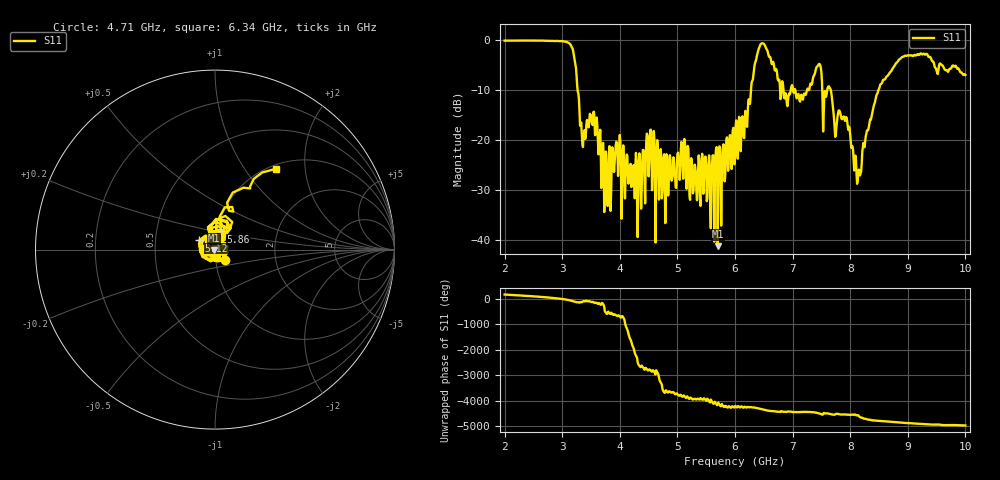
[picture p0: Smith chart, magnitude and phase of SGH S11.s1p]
!Keysight Technologies,N5227A,US51270384,A.10.49.03
!Date: Tuesday, March 27, 2018 13:03:27
!Correction: S11(Full 1 Port(1))
!S1P File: Measurement: S11:
# Hz S  RI  R 50
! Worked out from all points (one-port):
!   801 points, 2 GHz to 10 GHz, reference 50 ohm
!   lowest |S11| = -41.3 dB at 5.7 GHz (marker M1), VSWR 1.02, Z = 49.2 - j0.337 ohm
!   |S11| at or under -10 dB: 3.268 GHz to 6.278 GHz (3.01 GHz wide, 63.1 % of centre); 7.046 GHz to 7.251 GHz (204.8 MHz wide, 2.86 % of centre); 7.663 GHz to 8.49 GHz (827.2 MHz wide, 10.2 % of centre)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
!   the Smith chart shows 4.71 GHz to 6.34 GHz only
!   S11 on the Smith chart (normalised r, x): 4.71 GHz: 1.11, -0.13; 5.12 GHz: 0.83, +0.09; 5.86 GHz: 1.05, +0.21; 6.34 GHz: 1.07, +1.41
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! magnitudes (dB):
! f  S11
! 2 GHz  -0.1
! 3 GHz  -0.2
! 3.2 GHz  -2.8
! 3.36 GHz  -21.4
! 3.57 GHz  -19.0
! 3.76 GHz  -22.3
! 4 GHz  -19.0
! 4.34 GHz  -22.7
! 4.5 GHz  -27.3
! 4.71 GHz  -21.8
! 5 GHz  -23.0
! 5.12 GHz  -19.8
! 5.61 GHz  -23.1
! 5.7 GHz  -41.3
! 5.86 GHz  -19.5
! 6 GHz  -23.9
! 6.18 GHz  -14.2
! 6.34 GHz  -5.0
! 6.49 GHz  -0.7
! 6.88 GHz  -10.6
! 7 GHz  -9.3
! 7.45 GHz  -4.9
! 7.55 GHz  -11.0
! 8 GHz  -18.9
! 8.15 GHz  -25.9
! 8.5 GHz  -9.7
! 9 GHz  -3.0
! 10 GHz  -7.0
